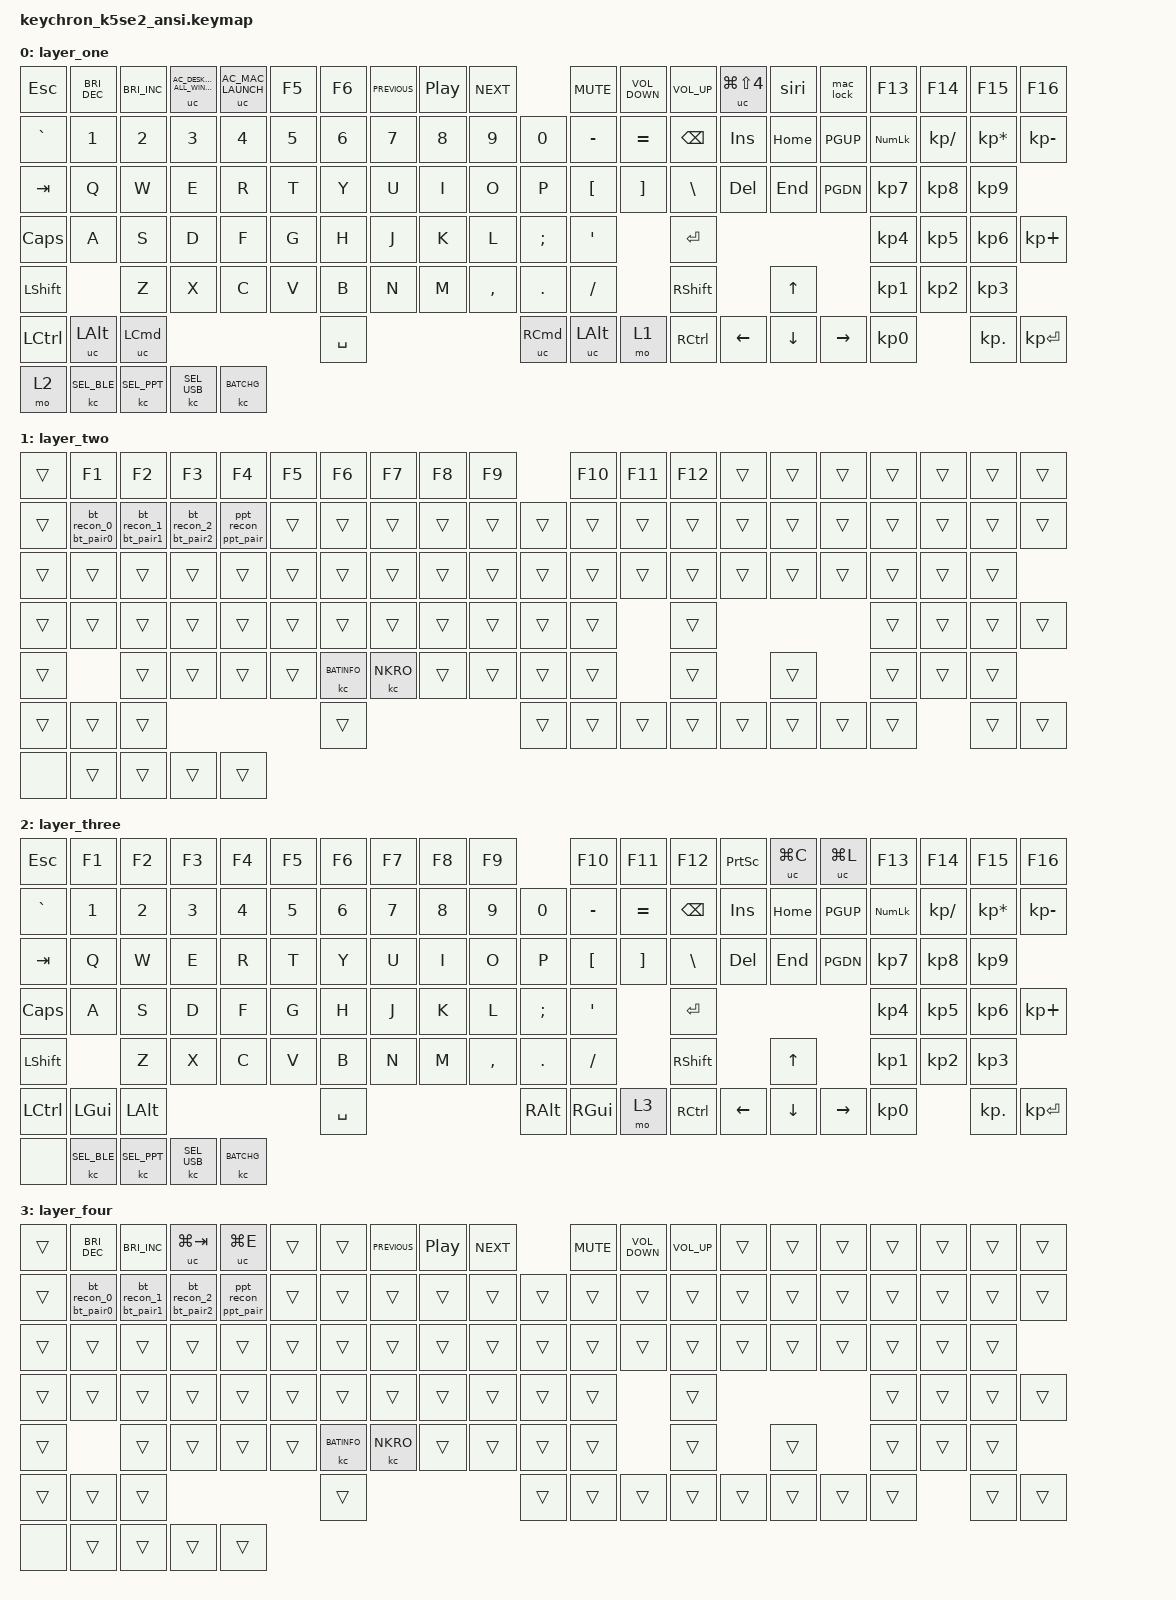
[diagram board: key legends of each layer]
/*
 * Copyright (c) 2023 The ZMK Contributors
 *
 * SPDX-License-Identifier: MIT
 */

#include <behaviors.dtsi>
#include <dt-bindings/zmk/bt.h>
#include <dt-bindings/zmk/keys.h>
#include <dt-bindings/zmk/rgb.h>
#include <dt-bindings/zmk/bt.h>
#include <dt-bindings/zmk/outputs.h>
#include <dt-bindings/zmk/keychron.h>


/ {
    // behaviors {
    //     rgb_encoder: rgb_encoder {
    //         compatible = "zmk,behavior-sensor-rotate";
    //         #sensor-binding-cells = <0>;
    //         bindings = <&rgb_ug RGB_BRI>, <&rgb_ug RGB_BRD>;
    //         tap-ms =<20>;
    //     };
    //     mouse_encoder: mouse_encoder {
    //         compatible = "zmk,behavior-sensor-rotate-var";
    //         #sensor-binding-cells = <2>;
    //         bindings = <&mkp>, <&mkp>;
    //         tap-ms =<20>;
    //     };
    // };
    macro1:zm_ma{
        compatible = "zmk,behavior-macro-one-param";
        #binding-cells = <1>;
        bindings=<&kp 0x770000>;
    };
    lm: layer_mod {
        compatible = "zmk,behavior-macro-two-param";
        wait-ms = <0>;
        tap-ms = <0>;
        #binding-cells = <2>;
        bindings
            = <&macro_param_1to1>
            , <&macro_press &mo 0>
            , <&macro_param_2to1>
            , <&macro_press &kp 0>
            , <&macro_pause_for_release>
            , <&macro_param_2to1>
            , <&macro_release &kp 0>
            , <&macro_param_1to1>
            , <&macro_release &mo 0>
            ;
    };
    td1:tapd_layer{
        compatible = "zmk,behavior-tap-dance1";
        #binding-cells = <1>;
        tapping-term-ms = <350>;
        bindings =<&mo 0>,<&mo 0>,<&mo 0>,<&mo 0>,<&to 0>;
    };

    kc_lp:l1{
        compatible = "zmk,behavior-hold-tap";
        #binding-cells = <2>;
        flavor = "tap-preferred";
        tapping-term-ms = <3000>;  // delay amount in ms
        bindings = <&kc>,<&none>;
    };

    long_press_bootloader:lp_bootloader{
        compatible = "zmk,behavior-hold-tap";
        #binding-cells = <2>;
        flavor = "tap-preferred";
        tapping-term-ms = <3000>;  // delay amount in ms
        bindings = <&bootloader>, <&none>;
    };
    // kc_nkro:kc_nkro{
    //     compatible = "zmk,behavior-hold-tap";
    //     #binding-cells = <2>;
    //     flavor = "tap-preferred";
    //     tapping-term-ms = <2000>;  // delay amount in ms
    //     bindings = <&kc NKRO>, <&none>;
    // };
    ZMK_MACRO(bt_pair0, bindings = <&kc BT_PAIR 0>;)
    ZMK_MACRO(bt_pair1, bindings = <&kc BT_PAIR 1>;)
    ZMK_MACRO(bt_pair2, bindings = <&kc BT_PAIR 2>;)
    ZMK_MACRO(ppt_pair, bindings = <&kc PPT_PAIR 0>;)
    ZMK_MACRO(bt_recon_0, bindings = <&kc BT_SEL 0>;)
    ZMK_MACRO(bt_recon_1, bindings = <&kc BT_SEL 1>;)
    ZMK_MACRO(bt_recon_2, bindings = <&kc BT_SEL 2>;)
    ZMK_MACRO(ppt_recon, bindings = <&kc PPT_SEL 0>;)



    bt_pair_0: bt_pair_0 {
        compatible = "zmk,behavior-hold-tap";

        #binding-cells = <2>;
        flavor = "tap-preferred";
        tapping-term-ms = <3000>;  // delay amount in ms
        bindings = <&bt_pair0>, <&bt_recon_0>;
    };
    bt_pair_1: bt_pair_1 {
        compatible = "zmk,behavior-hold-tap";

        #binding-cells = <2>;
        flavor = "tap-preferred";
        tapping-term-ms = <3000>;  // delay amount in ms
        bindings = <&bt_pair1>, <&bt_recon_1>;
    };
    bt_pair_2: bt_pair_2 {
        compatible = "zmk,behavior-hold-tap";

        #binding-cells = <2>;
        flavor = "tap-preferred";
        tapping-term-ms = <3000>;  // delay amount in ms
        bindings = <&bt_pair2>, <&bt_recon_2>;
    };
    ppt_pair_0: ppt_pair_0 {
        compatible = "zmk,behavior-hold-tap";

        #binding-cells = <2>;
        flavor = "tap-preferred";
        tapping-term-ms = <3000>;  // delay amount in ms
        bindings = <&ppt_pair>, <&ppt_recon>;
    };
    uc:user_custom {
        compatible = "zmk,behavior-key-press";
        #binding-cells =<1>;
    };
    combos {
        compatible = "zmk,combos";
        combo_a {
                timeout-ms = <1000>;
                layers =< 1 3>;
                key-positions = <68 79>; //fn+j+z
                bindings = <&kc_lp RCV>;
        };
        // combo_b {v
        //         timeout-ms = <1000>;
        //         layers =< 1 3>;
        //         key-positions = <64>; //fn+b
        //         bindings = <&kc BATINFO>;
        // };
        // combo_c {
        //         timeout-ms = <1000>;
        //         layers =< 1 3>;
        //         key-positions = <58 81>; //fn+home+right
        //         bindings = <&kc_lp RGBTEST>;
        // };
         combo_t0 {
            timeout-ms = <10 >;
            layers =<4>;
            key-positions = <120>;
            bindings = <&to 3 >;
        };
        combo_t1 {
            timeout-ms = <10 >;
            layers =<4>;

            key-positions = <120>;
            bindings = <&tog 3 >;
        };
        combo_t2 {
            timeout-ms = <10 >;
            layers =<4>;
            key-positions = <120>;
            bindings = <&sl 3 >;
        };
        combo_t3 {
            timeout-ms = <10 >;
            layers =<4>;
            key-positions = <120>;
            bindings = <&lt 3 SPACE>;
        };
        combo_t4 {
            timeout-ms = <10 >;
            layers =<4>;
            key-positions = <120>;
            bindings = <&sk LSHIFT>;
        };
        combo_t5 {
            timeout-ms = <10 >;
            layers =<4>;
            key-positions = <120>;
            bindings = <&mt LSHIFT SPACE>;
        };
        combo_t6 {
            timeout-ms = <10 >;
            layers =<4>;
            key-positions = <120>;
            bindings = <&gresc>;
        };
        //  combo_t7 {
        //     timeout-ms = <10 >;
        //     layers =<4>;
        //     key-positions = <120>;
        //     bindings = <&mkp 0>;
        // };
        // combo_win_l {
        //     timeout-ms = <500>;
        //     layers =<1>;
        //     //slow-release = <true>;
        //     key-positions = <89>; //fn+win
        //     bindings = <&long_press_fn_win 0 0>;
        // };
    };

    // ZMK_MACRO(fn_win_l, bindings = <&kc FN_WIN 0>;)
    // ZMK_MACRO(fn_win_s, bindings = <&kc FN_WIN 1>;)
    // long_press_fn_win:l4{
    //     compatible = "zmk,behavior-hold-tap";
    //     label = "lp_fn_win";
    //     #binding-cells = <2>;
    //     flavor = "tap-preferred";
    //     tapping-term-ms = <3000>;
    //     bindings = <&fn_win_l>, <&fn_win_s>;
    // };
    // ZMK_MACRO(fn_mac, bindings = <&kc MO_MAC_LAYER>;)
    // ZMK_MACRO(fn_win, bindings = <&kc MO_WIN_LAYER>;)
    // lp_mo_mac:lp_mo_mac{
    //     compatible = "zmk,behavior-hold-tap";

    //     #binding-cells = <2>;
    //     flavor = "tap-preferred";
    //     tapping-term-ms = <3000>;
    //     bindings = <&fn_mac>,<&trans>;
    // };
    // lp_mo_win:lp_mo_win{
    //     compatible = "zmk,behavior-hold-tap";

    //     #binding-cells = <2>;
    //     flavor = "tap-preferred";
    //     tapping-term-ms = <3000>;
    //     bindings = <&fn_win>,<&trans>;
    // };
    siri:siri{
        compatible = "zmk,behavior-macro";
        #binding-cells = <0>;
        bindings
            = <&macro_tap_time 1000>,
              < &kp LG(SPACE)>

            ;
     };
    mac_lock:mac_lock{
        compatible = "zmk,behavior-macro";
        #binding-cells = <0>;
        bindings
            = <&macro_tap_time 200>,
              < &kp C_AL_LOCK>

            ;
     };
    keymap {
        compatible = "zmk,keymap";
        //mac
        layer_one {
            bindings = <
            &kp ESC     &kp C_BRIGHTNESS_DEC   &kp C_BRIGHTNESS_INC     &uc C_AC_DESKTOP_SHOW_ALL_WINDOWS   &uc  C_AC_MAC_LAUNCH    &kp F5              &kp F6          &kp C_PREVIOUS  &kp C_PLAY_PAUSE    &kp C_NEXT  &kp C_MUTE  &kp C_VOLUME_DOWN    &kp C_VOLUME_UP                            &uc LG(LS(N4))       &siri               &mac_lock                &kp F13          &kp F14          &kp F15            &kp F16
            &kp GRAVE   &kp N1                 &kp N2                   &kp N3                              &kp N4                  &kp N5              &kp N6          &kp N7          &kp N8              &kp N9       &kp N0     &kp MINUS            &kp EQUAL           &kp BSPC               &kp INS              &kp HOME            &kp PGUP                &kp KP_NUMLOCK   &kp KP_SLASH     &kp KP_MULTIPLY     &kp KP_MINUS
            &kp TAB     &kp Q                  &kp W                    &kp E                               &kp R                   &kp T               &kp Y           &kp U           &kp I               &kp O        &kp P      &kp LBKT             &kp RBKT            &kp BSLH               &kp DEL              &kp END             &kp PGDN                &kp KP_N7        &kp KP_N8        &kp KP_N9
            &kp CLCK    &kp A                  &kp S                    &kp D                               &kp F                   &kp G               &kp H           &kp J           &kp K               &kp L        &kp SEMI   &kp SQT                                  &kp RET                                                                                 &kp KP_N4        &kp KP_N5        &kp KP_N6           &kp KP_PLUS
            &kp LSHFT                          &kp Z                    &kp X                               &kp C                   &kp V               &kp B           &kp N           &kp M               &kp COMMA    &kp DOT    &kp FSLH                                 &kp RSHFT                                   &kp UP                                      &kp KP_N1        &kp KP_N2        &kp KP_N3
            &kp LCTRL   &uc LALT               &uc LCMD                                                                                                 &kp SPACE                                                        &uc RCMD   &uc LALT             &mo 1               &kp RCTRL              &kp LEFT             &kp DOWN            &kp RIGHT               &kp KP_N0                         &kp KP_DOT          &kp KP_ENTER
            //keychron control
            &mo 2       &kc SEL_BLE &kc SEL_PPT      &kc SEL_USB   &kc  BATCHG
            >;
            // sensor-bindings = <&inc_dec_kp C_VOL_UP C_VOL_DN>;
        };
        //mac fn layer
        layer_two {
            bindings = <
                                                                        //f1                        //f2                                //f3                    //f4                //f5                //f6             //f7               //f8        //f9        //f10                       //f11            //f12
            &trans                                                      &kp F1                      &kp F2                              &kp F3                  &kp F4              &kp F5              &kp F6          &kp F7              &kp F8      &kp F9      &kp F10                     &kp F11          &kp F12                 &trans      &trans      &trans          &trans      &trans          &trans        &trans
            &trans                          &bt_pair_0 0 0              &bt_pair_1 0 0              &bt_pair_2 0 0                      &ppt_pair_0 0 0         &trans              &trans              &trans          &trans              &trans      &trans      &trans                      &trans           &trans                  &trans      &trans      &trans          &trans      &trans          &trans        &trans
            &trans                          &trans                      &trans                      &trans                              &trans                  &trans              &trans              &trans          &trans              &trans      &trans      &trans                      &trans           &trans                  &trans      &trans      &trans          &trans      &trans          &trans
            &trans                          &trans                      &trans                      &trans                              &trans                  &trans              &trans              &trans          &trans              &trans      &trans      &trans                      &trans                                                                           &trans      &trans          &trans        &trans
            &trans                                                      &trans                      &trans                              &trans                  &trans              &kc BATINFO         &kc NKRO        &trans              &trans      &trans      &trans                      &trans                                               &trans                      &trans      &trans          &trans
            &trans                          &trans                      &trans                                                                                                       &trans                                                             &trans      &trans                      &trans           &trans                  &trans      &trans      &trans          &trans                      &trans        &trans
            //
            &none                           &trans                      &trans                      &trans       &trans
            >;
            // sensor-bindings = <&rgb_encoder>;
        };
        //win
        layer_three {
        bindings = <
        &kp ESC     &kp F1                 &kp F2                   &kp F3                              &kp F4                  &kp F5              &kp F6          &kp F7          &kp F8              &kp F9       &kp F10    &kp F11              &kp F12                                    &kp PSCRN            &uc LG(C)           &uc LG(L)               &kp F13          &kp F14          &kp F15             &kp F16
        &kp GRAVE   &kp N1                 &kp N2                   &kp N3                              &kp N4                  &kp N5              &kp N6          &kp N7          &kp N8              &kp N9       &kp N0     &kp MINUS            &kp EQUAL           &kp BSPC               &kp INS              &kp HOME            &kp PGUP                &kp KP_NUMLOCK   &kp KP_SLASH     &kp KP_MULTIPLY     &kp KP_MINUS
        &kp TAB     &kp Q                  &kp W                    &kp E                               &kp R                   &kp T               &kp Y           &kp U           &kp I               &kp O        &kp P      &kp LBKT             &kp RBKT            &kp BSLH               &kp DEL              &kp END             &kp PGDN                &kp KP_N7        &kp KP_N8        &kp KP_N9
        &kp CLCK    &kp A                  &kp S                    &kp D                               &kp F                   &kp G               &kp H           &kp J           &kp K               &kp L        &kp SEMI   &kp SQT                                  &kp RET                                                                                 &kp KP_N4        &kp KP_N5        &kp KP_N6           &kp KP_PLUS
        &kp LSHFT                          &kp Z                    &kp X                               &kp C                   &kp V               &kp B           &kp N           &kp M               &kp COMMA    &kp DOT    &kp FSLH                                 &kp RSHFT                                   &kp UP                                      &kp KP_N1        &kp KP_N2        &kp KP_N3
        &kp LCTRL   &kp LGUI               &kp LALT                                                                                                 &kp SPACE                                                        &kp RALT   &kp RGUI             &mo 3               &kp RCTRL              &kp LEFT             &kp DOWN            &kp RIGHT               &kp KP_N0                         &kp KP_DOT          &kp KP_ENTER
        //keychron control
        &none       &kc SEL_BLE &kc SEL_PPT      &kc SEL_USB   &kc  BATCHG
        >;
        // sensor-bindings = <&inc_dec_kp C_VOL_UP C_VOL_DN>;
        };
        //win fn layer
        layer_four {
        bindings = <
                                                                    //f1                        //f2                                //f3                    //f4                //f5                //f6            //f7                //f8                //f9            //f10           //f11                         //f12
        &trans                                                      &kp C_BRIGHTNESS_DEC        &kp C_BRIGHTNESS_INC                &uc LG(TAB)             &uc LG(E)           &trans              &trans          &kp C_PREVIOUS      &kp C_PLAY_PAUSE    &kp C_NEXT      &kp C_MUTE      &kp C_VOLUME_DOWN           &kp C_VOLUME_UP     &trans      &trans      &trans          &trans      &trans          &trans        &trans
        &trans                          &bt_pair_0 0 0              &bt_pair_1 0 0              &bt_pair_2 0 0                      &ppt_pair_0 0 0         &trans              &trans              &trans          &trans              &trans              &trans          &trans          &trans                      &trans              &trans      &trans      &trans          &trans      &trans          &trans        &trans
        &trans                          &trans                      &trans                      &trans                              &trans                  &trans              &trans              &trans          &trans              &trans              &trans          &trans          &trans                      &trans              &trans      &trans      &trans          &trans      &trans          &trans
        &trans                          &trans                      &trans                      &trans                              &trans                  &trans              &trans              &trans          &trans              &trans              &trans          &trans          &trans                                                                                  &trans      &trans          &trans        &trans
        &trans                                                      &trans                      &trans                              &trans                  &trans              &kc BATINFO         &kc NKRO        &trans              &trans              &trans          &trans          &trans                                                      &trans                      &trans      &trans          &trans
        &trans                          &trans                      &trans                                                                                                       &trans                                                                     &trans          &trans          &trans                      &trans              &trans      &trans      &trans          &trans                      &trans        &trans
        //
        &none                           &trans                      &trans                      &trans          &trans
        >;
        // sensor-bindings = <&rgb_encoder>;
        };


    };
};
&mt {
    tapping-term-ms = <400>;
};
&inc_dec_kp {
    tap-ms=<20>;
};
